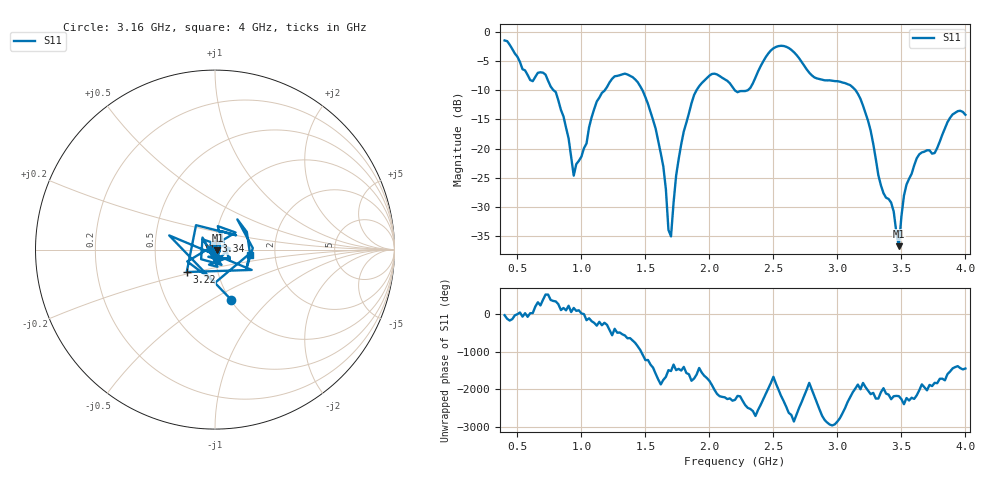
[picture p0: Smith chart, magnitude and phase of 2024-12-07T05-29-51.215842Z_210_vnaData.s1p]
!Created with skrf (http://scikit-rf.org).
# Hz S RI R 50.0
!freq ReS11 ImS11
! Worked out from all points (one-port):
!   181 points, 400 MHz to 4 GHz, reference 50 ohm
!   lowest |S11| = -36.8 dB at 3.48 GHz (marker M1), VSWR 1.03, Z = 51.4 - j0.452 ohm
!   |S11| at or under -10 dB: 782.5 MHz to 1.183 GHz (400.1 MHz wide, 40.7 % of centre); 1.477 GHz to 1.899 GHz (422.2 MHz wide, 25 % of centre); 3.142 GHz to end of sweep (the widest 3 of 4)
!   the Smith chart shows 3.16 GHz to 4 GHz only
!   S11 on the Smith chart (normalised r, x): 3.16 GHz: 1.01, -0.62; 3.22 GHz: 0.71, -0.18; 3.34 GHz: 1.00, +0.10; 4 GHz: 1.47, -0.09
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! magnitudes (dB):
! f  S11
! 400 MHz  -1.5
! 600 MHz  -8.2
! 720 MHz  -7.3
! 860 MHz  -14.5
! 940 MHz  -24.7
! 1.12 GHz  -11.9
! 1.3 GHz  -7.4
! 1.44 GHz  -8.6
! 1.54 GHz  -13.7
! 1.64 GHz  -23.1
! 1.68 GHz  -34.0
! 1.7 GHz  -35.1
! 1.76 GHz  -21.8
! 1.94 GHz  -8.8
! 2.2 GHz  -10.0
! 2.32 GHz  -9.6
! 2.5 GHz  -2.8
! 2.66 GHz  -3.5
! 3.1 GHz  -9.1
! 3.16 GHz  -10.6
! 3.22 GHz  -13.9
! 3.34 GHz  -26.3
! 3.42 GHz  -29.3
! 3.48 GHz  -36.8
! 3.52 GHz  -28.1
! 3.56 GHz  -25.2
! 3.9 GHz  -14.2
! 4 GHz  -14.2
